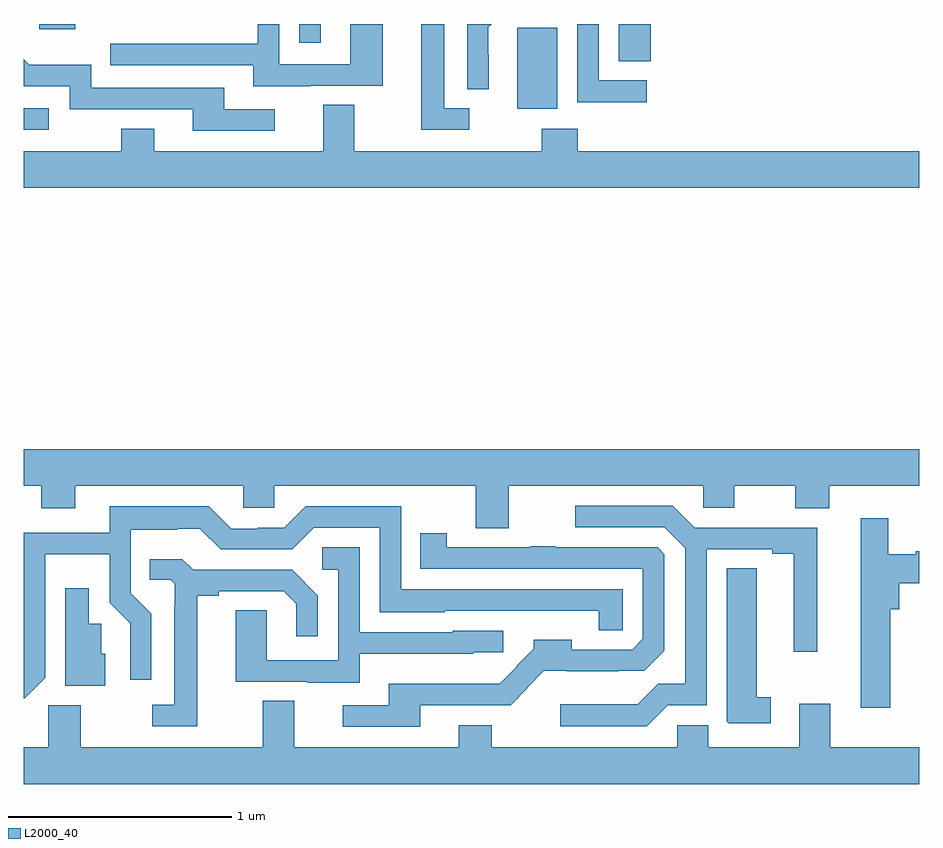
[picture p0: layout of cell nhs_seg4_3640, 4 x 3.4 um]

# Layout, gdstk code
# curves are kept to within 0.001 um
import gdstk
lib = gdstk.Library(unit=1e-6, precision=1e-09)
def R(c, l, rs):  # rectangles x0, y0, x1, y1
    for r in rs: c.add(gdstk.rectangle(r[:2], r[2:], *l))
def P(c, l, *ps):  # polygons
    for p in ps: c.add(gdstk.Polygon(p, *l))
L2000_40 = (2000, 40)

nhs_seg4_3640 = lib.new_cell('nhs_seg4_3640')
R(nhs_seg4_3640, L2000_40, [(303,782.427,303.112,782.523), (305.204,782.522,305.383,782.883), (305.657,782.734,305.801,782.9), (304.23,782.817,304.327,782.9), (303.069,782.876,303.23,782.9)])
P(nhs_seg4_3640, L2000_40, [(304.99,782.523),(304.879,782.523),(304.879,782.9),(304.775,782.9),(304.775,782.427),(304.99,782.427)],
  [(304.279,782.625),(304.603,782.625),(304.603,782.9),(304.458,782.9),(304.458,782.721),(304.14,782.721),(304.14,782.9),(304.044,782.9),(304.044,782.811),(303.385,782.811),(303.385,782.715),(304.025,782.715),(304.025,782.621),(304.279,782.621)],
  [(305.076,782.762),(305.075,782.762),(305.075,782.885),(305.09,782.9),(304.98,782.9),(304.98,782.608),(305.076,782.608)],
  [(305.782,782.649),(305.568,782.649),(305.568,782.9),(305.472,782.9),(305.472,782.551),(305.782,782.551)],
  [(304.12,782.52),(303.895,782.52),(303.895,782.616),(303.3,782.616),(303.3,782.719),(303.023,782.719),(303,782.742),(303,782.622),(303.204,782.622),(303.204,782.52),(303.755,782.52),(303.755,782.424),(304.12,782.424)],
  [(307,782.332),(305.474,782.332),(305.474,782.431),(305.314,782.431),(305.314,782.332),(304.477,782.332),(304.477,782.54),(304.337,782.54),(304.337,782.332),(303.583,782.332),(303.583,782.431),(303.436,782.431),(303.436,782.332),(303,782.332),(303,782.168),(307,782.168)],
  [(305.167,780.836),(306.036,780.836),(306.036,780.738),(306.175,780.738),(306.175,780.836),(306.446,780.836),(306.446,780.737),(306.599,780.737),(306.599,780.836),(307,780.836),(307,781),(303,781),(303,780.836),(303.077,780.836),(303.077,780.737),(303.229,780.737),(303.229,780.836),(303.981,780.836),(303.981,780.738),(304.119,780.738),(304.119,780.836),(305.02,780.836),(305.02,780.646),(305.167,780.646)],
  [(305.877,779.856),(306.051,779.856),(306.051,780.552),(306.344,780.552),(306.344,780.532),(306.44,780.532),(306.44,780.096),(306.544,780.096),(306.544,780.648),(305.998,780.648),(305.899,780.747),(305.463,780.747),(305.463,780.651),(305.862,780.651),(305.955,780.558),(305.955,779.951),(305.834,779.951),(305.743,779.86),(305.397,779.86),(305.397,779.763),(305.784,779.763)],
  [(303.096,779.979),(303.096,780.53),(303.384,780.53),(303.384,780.314),(303.476,780.222),(303.476,779.97),(303.57,779.97),(303.57,780.264),(303.477,780.357),(303.477,780.641),(303.686,780.641),(303.686,780.645),(303.786,780.645),(303.879,780.552),(304.2,780.552),(304.296,780.648),(304.59,780.648),(304.59,780.272),(304.881,780.272),(304.881,780.279),(305.568,780.278),(305.568,780.19),(305.676,780.19),(305.676,780.375),(304.686,780.375),(304.686,780.744),(304.26,780.744),(304.164,780.648),(304.044,780.648),(304.044,780.645),(303.927,780.645),(303.827,780.745),(303.383,780.745),(303.383,780.627),(303,780.627),(303,779.887),(303.003,779.887)],
  [(306.872,780.284),(306.911,780.284),(306.911,780.401),(307,780.401),(307,780.543),(306.984,780.543),(306.984,780.531),(306.862,780.531),(306.862,780.691),(306.74,780.691),(306.74,779.844),(306.872,779.844)],
  [(304.771,779.856),(305.175,779.856),(305.251,779.933),(305.249,779.935),(305.323,780.009),(305.657,780.008),(305.657,780.01),(305.773,780.01),(305.862,780.099),(305.862,780.531),(305.832,780.561),(305.375,780.561),(305.375,780.566),(305.263,780.566),(305.263,780.561),(304.89,780.561),(304.89,780.625),(304.771,780.625),(304.771,780.465),(305.766,780.465),(305.766,780.153),(305.718,780.105),(305.449,780.105),(305.449,780.148),(305.278,780.148),(305.278,780.109),(305.199,780.03),(305.202,780.027),(305.126,779.951),(305.024,779.951),(305.024,779.953),(304.631,779.953),(304.631,779.856),(304.425,779.856),(304.425,779.76),(304.771,779.76)],
  [(304.501,780.086),(305.007,780.086),(305.007,780.093),(305.142,780.093),(305.142,780.189),(304.917,780.189),(304.917,780.183),(304.5,780.183),(304.5,780.563),(304.332,780.563),(304.332,780.462),(304.404,780.462),(304.404,780.057),(304.086,780.057),(304.086,780.281),(303.947,780.281),(303.947,779.961),(304.265,779.961),(304.265,779.957),(304.501,779.957)],
  [(303.775,780.346),(303.871,780.346),(303.871,780.366),(304.16,780.366),(304.217,780.309),(304.217,780.165),(304.314,780.165),(304.314,780.346),(304.198,780.462),(303.756,780.462),(303.708,780.509),(303.562,780.509),(303.562,780.417),(303.657,780.417),(303.675,780.399),(303.675,780.299),(303.671,780.299),(303.671,779.859),(303.573,779.859),(303.573,779.763),(303.775,779.763)],
  [(306.337,779.891),(306.274,779.891),(306.274,780.467),(306.14,780.467),(306.14,779.785),(306.15,779.775),(306.337,779.775)],
  [(303.364,780.087),(303.345,780.087),(303.345,780.219),(303.289,780.219),(303.289,780.379),(303.185,780.379),(303.185,779.942),(303.364,779.942)],
  [(307,779.668),(306.604,779.668),(306.604,779.863),(306.464,779.863),(306.464,779.668),(306.058,779.668),(306.058,779.766),(305.919,779.766),(305.919,779.668),(305.091,779.668),(305.091,779.767),(304.943,779.767),(304.943,779.668),(304.207,779.668),(304.207,779.876),(304.067,779.876),(304.067,779.668),(303.255,779.668),(303.255,779.857),(303.108,779.857),(303.108,779.668),(303,779.668),(303,779.504),(307,779.504)])

lib.write_gds('nhs_seg4_3640.gds')
